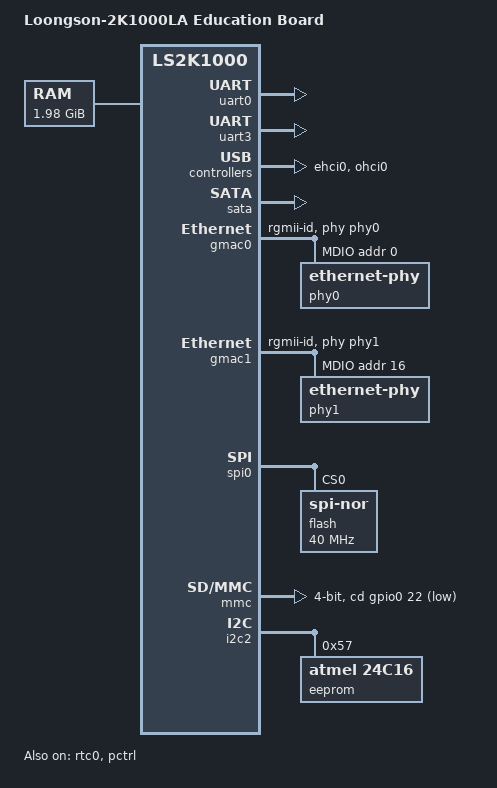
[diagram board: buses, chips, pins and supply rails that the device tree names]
// SPDX-License-Identifier: GPL-2.0
/*
 * Device tree for the Loongson Education Pi (LS2K1000LA, LS2K1000_PAI_UDB).
 *
 * Based on arch/loongarch/boot/dts/loongson-2k1000-ref.dts from Linux,
 * with the education board memory map (2GB) and on-board devices.
 *
 * This blob is embedded in the EDK2 firmware: UEFI consumes it for the
 * early console, PCI host bridge, RTC and MMIO layout, and hands it to
 * EFI-stub kernels (OpenWrt/GRUB) through the EFI configuration table.
 */

/dts-v1/;

#include "dt-bindings/interrupt-controller/irq.h"
#include "dt-bindings/clock/loongson,ls2k-clk.h"
#include "dt-bindings/gpio/gpio.h"
#include "loongson-2k1000.dtsi"

/ {
	compatible = "loongson,ls2k1000-edu", "loongson,ls2k1000";
	model = "Loongson-2K1000LA Education Board";

	aliases {
		serial0 = &uart0;
		serial1 = &uart3;
	};

	/*
	 * Console is the LVTTL port (pins 8/10) so a plain 3.3V USB-TTL adapter
	 * reads both the firmware log and the OS console; uart0 (RS232, pins
	 * 59/60) carries a mirror of the firmware output.
	 */
	chosen {
		stdout-path = "serial1:115200n8";
	};

	/* 2GB DDR3: low window + high window, 2MB firmware reserve at 0. */
	memory@200000 {
		device_type = "memory";
		reg = <0x0 0x00200000 0x0 0x0ee00000>,
		      <0x0 0x90000000 0x0 0x70000000>;
	};

	reserved-memory {
		#address-cells = <2>;
		#size-cells = <2>;
		ranges;

		linux,cma {
			compatible = "shared-dma-pool";
			reusable;
			size = <0x0 0x2000000>;
			linux,cma-default;
		};
	};
};

&uart0 {
	status = "okay";
};

&uart3 {
	status = "okay";
};

&rtc0 {
	status = "okay";
};

&ehci0 {
	status = "okay";
};

&ohci0 {
	status = "okay";
};

&sata {
	status = "okay";
};

&gmac0 {
	status = "okay";

	phy-mode = "rgmii-id";
	phy-handle = <&phy0>;
	mdio {
		compatible = "snps,dwmac-mdio";
		#address-cells = <1>;
		#size-cells = <0>;
		phy0: ethernet-phy@0 {
			reg = <0>;
		};
	};
};

&gmac1 {
	status = "okay";

	phy-mode = "rgmii-id";
	phy-handle = <&phy1>;
	mdio {
		compatible = "snps,dwmac-mdio";
		#address-cells = <1>;
		#size-cells = <0>;
		phy1: ethernet-phy@1 {
			reg = <16>;
		};
	};
};

&spi0 {
	status = "okay";

	#address-cells = <1>;
	#size-cells = <0>;

	flash@0 {
		compatible = "jedec,spi-nor";
		reg = <0>;
		spi-max-frequency = <40000000>;
	};
};

&mmc {
	status = "okay";

	bus-width = <4>;
	cd-gpios = <&gpio0 22 GPIO_ACTIVE_LOW>;
};

&pctrl {
	status = "okay";

	sdio_pins_default: sdio-pins {
		sdio-pinmux {
			groups = "sdio";
			function = "sdio";
		};
	};

	i2c0_pins_default: i2c0-pins {
		pinmux {
			groups = "i2c0";
			function = "i2c0";
		};
	};
};

&i2c2 {
	status = "okay";

	#address-cells = <1>;
	#size-cells = <0>;
	eeprom@57 {
		compatible = "atmel,24c16";
		reg = <0x57>;
		pagesize = <16>;
	};
};
